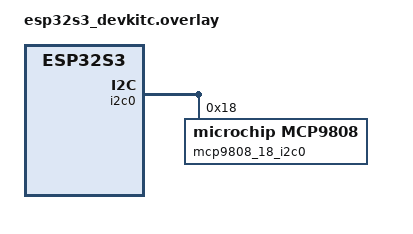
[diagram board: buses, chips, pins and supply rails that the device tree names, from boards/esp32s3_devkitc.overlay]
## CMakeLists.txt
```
# Minimum CMake version
cmake_minimum_required(VERSION 3.20.0)

# Add additional modules
set(ZEPHYR_EXTRA_MODULES "${CMAKE_SOURCE_DIR}/../../modules/mcp9808")

# Locate the Zephyr RTOS source
find_package(Zephyr REQUIRED HINTS $ENV{ZEPHYR_BASE})

# Name the project
project(read_temp)

# Locate the source code for the application
target_sources(app PRIVATE src/main.c)
```

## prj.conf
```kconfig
CONFIG_GPIO=y
CONFIG_SENSOR=y
CONFIG_I2C=y
CONFIG_MCP9808=y
CONFIG_LOG=y
CONFIG_LOG_DEFAULT_LEVEL=4
```

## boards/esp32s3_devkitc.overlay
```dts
// Create an alias for our MCP9808 device
/ {
    aliases {
        my-mcp9808 = &mcp9808_18_i2c0;
    };
};

// Add custom pins to the node labeled "pinctrl"
&pinctrl {

	// Configure custom pin settings for I2C bus 0
    i2c0_custom_pins: i2c0_custom_pins {

		// Custom group name
        group1 {
            pinmux = <I2C0_SDA_GPIO9>, <I2C0_SCL_GPIO10>;	// SDA on GPIO9, SCL on GPIO10
            bias-pull-up; 									// Enable pull-up resistors for both pins
            drive-open-drain; 								// Required for I2C
            output-high; 									// Start with lines high (inactive state)
        };
    };
};

// Enable I2C0 and add MCP9808 sensor
&i2c0 {
    pinctrl-0 = <&i2c0_custom_pins>; 						// Use the custom pin configuration
    status = "okay"; 										// Enable I2C0 interface

	// Label: name of our device node
    mcp9808_18_i2c0: mcp9808@18 {
        compatible = "microchip,mcp9808"; 					// Specify device bindings/driver
        reg = <0x18>; 										// I2C address of the MCP9808
        status = "okay"; 									// Enable the MCP9808 sensor
        resolution = <3>; 									// Set the resolution
    };
};
```

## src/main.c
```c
#include <zephyr/kernel.h>
#include <zephyr/device.h>
#include <zephyr/drivers/sensor.h>
#include <stdio.h>

int main(void)
{
	const struct device *const mcp = DEVICE_DT_GET(DT_ALIAS(my_mcp9808));
	int ret;

    // Check if the MCP9808 is found
	if (mcp == NULL) {
		printf("MCP9808 not found.\n");
		return 0;
	}

    // Check if the MCP9808 has been initialized (init function called)
	if (!device_is_ready(mcp)) {
		printf("Device %s is not ready.\n", mcp->name);
		return 0;
	}

    // Loop
    while (1) 
    {
        struct sensor_value tmp;

        // Fetch the temperature value from the sensor into the device's data structure
        ret = sensor_sample_fetch(mcp);
        if (ret != 0) {
            printf("Sample fetch error: %d\n", ret);
            return 0;
        }

        // Copy the temperature value from the device's data structure into the tmp struct
        ret = sensor_channel_get(mcp, SENSOR_CHAN_AMBIENT_TEMP, &tmp);
        if (ret != 0) {
            printf("Channel get error: %d\n", ret);
            return 0;
        }

        // Print the temperature value
        printf("Temperature: %d.%06d\n", tmp.val1, tmp.val2);

        // Sleep for 1 second
        k_sleep(K_SECONDS(1));
    }
    
    return 0;
}
```
